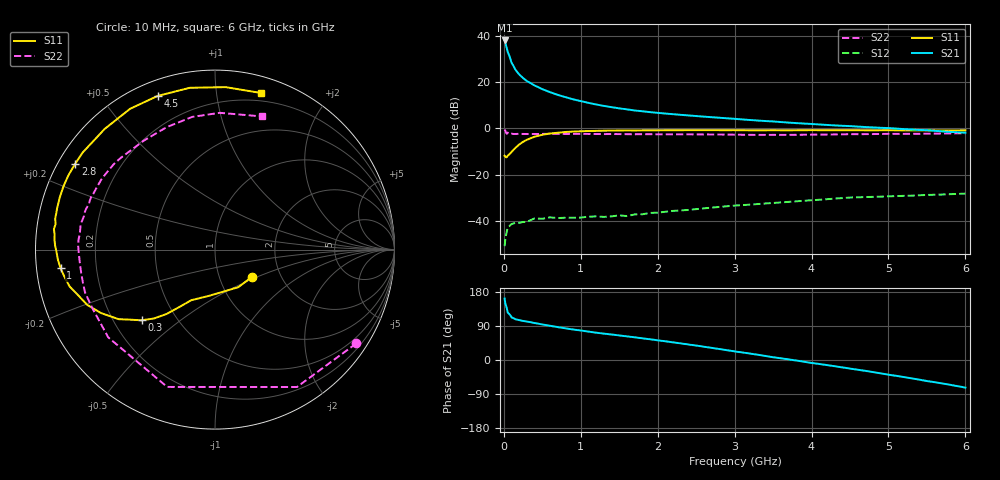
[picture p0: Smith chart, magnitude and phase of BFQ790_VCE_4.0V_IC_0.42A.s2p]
! (c) 2015  Infineon Technologies AG, Munich
! Infineon Technologies  Discrete & RF Semiconductors
! BFQ790
! VCE =  4.0 V,  IC = 0.42 A
! Common Emitter S-Parameters:  May 2015
# GHz  S  MA  R  50
!  f  S11  S21  S12  S22
! GHz  MAG  ANG  MAG  ANG  MAG  ANG  MAG  ANG
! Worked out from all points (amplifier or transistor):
!   77 points, 10 MHz to 6 GHz, reference 50 ohm
!   highest |S21| = 37.9 dB at 10 MHz (marker M1)
!   |S21| within 3 dB of that: start of sweep to 35.37 MHz
!   unconditionally stable (mu >= 1): 162.2 MHz to end of sweep
!   at 130 MHz: K = 0.87, MSG = 33.8 dB, |S12| = -40.9 dB
!   at 2.2 GHz: K = 1.38, MAG = 17.2 dB, |S12| = -35.5 dB
!   at 6 GHz: K = 1.12, MAG = 11.0 dB, |S12| = -28.1 dB
!   S11 on the Smith chart (normalised r, x): 10 MHz: 1.44, -0.46; 300 MHz: 0.32, -0.37; 1 GHz: 0.07, -0.06; 2.8 GHz: 0.05, +0.28; 4.5 GHz: 0.07, +0.69; 6 GHz: 0.13, +1.33
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0.01  0.2566 -36.0  78.33 162.1  0.0029 71.7  0.9448 -33.6
0.02  0.2464 -58.2  69.23 148.5  0.0042 58.7  0.8914 -59.2
0.05  0.2576 -96.2  44.62 125.1  0.0073 33.9  0.8102 -109.2
0.1  0.3108 -115.0  25.98 112.4  0.0087 25.2  0.77 -140.6
0.15  0.3795 -122.1  18.41 107.6  0.0092 21.4  0.7574 -154.6
0.2  0.4496 -127.0  14.51 105.2  0.0092 24.7  0.7624 -161.7
0.25  0.5135 -131.6  12.12 103.1  0.0096 19.0  0.7583 -166.4
0.3  0.568 -136.1  10.45 101.4  0.0097 17.8  0.7568 -170.1
0.4  0.6625 -144.2  8.375 97.5  0.0115 15.9  0.7569 -175.1
0.5  0.7268 -150.9  6.998 93.8  0.0113 13.2  0.7595 -178.9
0.6  0.7756 -156.6  6.033 90.3  0.0121 16.0  0.763 178.2
0.8  0.8359 -165.8  4.713 83.6  0.0119 11.3  0.7586 173.7
1  0.8666 -173.1  3.871 77.8  0.012 15.2  0.7608 170.1
1.1  0.8771 -176.3  3.542 74.9  0.0125 16.1  0.7591 168.3
1.5  0.8977 174.6  2.7 64.8  0.0134 17.8  0.7532 162.5
2.1  0.9103 163.4  2.087 49.4  0.016 18.8  0.7449 153.8
2.8  0.914 148.4  1.695 29.0  0.0203 12.4  0.738 139.6
3.1  0.9109 141.5  1.559 19.9  0.0222 10.4  0.7283 133.1
4.1  0.9132 119.0  1.213 -10.5  0.029 -5.6  0.7342 109.2
4.5  0.9139 110.5  1.119 -22.7  0.0324 -13.3  0.7502 99.8
5.1  0.9078 96.4  0.988 -41.8  0.0347 -25.7  0.7616 86.0
6  0.9094 73.6  0.807 -72.9  0.0394 -47.5  0.7875 70.4
